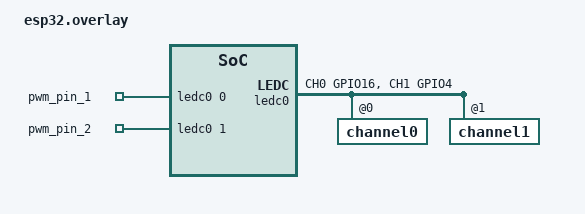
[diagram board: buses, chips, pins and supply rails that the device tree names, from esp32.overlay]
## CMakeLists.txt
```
# SPDX-License-Identifier: Apache-2.0

set(BOARD esp32_devkitc_wroom/esp32/procpu)

# Add the overlay file
set(DTC_OVERLAY_FILE esp32.overlay)

cmake_minimum_required(VERSION 3.20.0)

find_package(zephyr REQUIRED HINTS $ENV{ZEPHYR_BASE})

project(esp32_motor)

target_sources(app PRIVATE src/main.cpp)

target_sources(app PRIVATE src/hbridge.cpp)
```

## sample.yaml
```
sample:
  description: example with a motor, configured for an ESP32
  name: esp32 motor
```

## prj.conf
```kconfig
CONFIG_PWM=y
CONFIG_CPP=y
```

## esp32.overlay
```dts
/ {
	aliases {
		pin1=&pwm_pin_1;
		pin2=&pwm_pin_2;
	};
	pwmleds {
		compatible = "pwm-leds";
		pwm_pin_1: pwm_pin_1 {
			pwms = <&ledc0 0 PWM_HZ(2000) PWM_POLARITY_NORMAL>;
		};
		pwm_pin_2: pwm_pin_2 {
			pwms = <&ledc0 1 PWM_HZ(2000) PWM_POLARITY_NORMAL>;
		};
	};
};

&pinctrl {
        ledc0_pinctrl: ledc0_pinctrl {
	        pwm_group {
		        pinmux = <LEDC_CH0_GPIO16>,
					<LEDC_CH1_GPIO4>;
			output-enable;
		};
	};
};

&ledc0{
	pinctrl-0=<&ledc0_pinctrl>;
	pinctrl-names = "default";
	status="okay";
	#address-cells = <1>;
	#size-cells = <0>;
	channel0@0 {
	        reg = <0x0>;
		timer = <0>;
	};
	channel1@1 {
	        reg = <0x1>;
		timer = <0>;
	};
};
```

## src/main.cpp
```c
#include <stdio.h>
#include <zephyr/kernel.h>

#include "hbridge.h"

const struct pwm_dt_spec pin1 = PWM_DT_SPEC_GET(DT_ALIAS(pin1));
const struct pwm_dt_spec pin2 = PWM_DT_SPEC_GET(DT_ALIAS(pin2));

HBridge hbridge1 = HBridge(pin1, pin2);

int main(void)
{
    if (!hbridge1.begin()) {
        printf("Failed to initialize HBridge\n");
        return 1;
    }

    while (true) {
        hbridge1.enable();
        hbridge1.setSpeed(0.7);
        k_sleep(K_MSEC(1000));
        hbridge1.setSpeed(-0.3);
        k_sleep(K_MSEC(1000));
        hbridge1.disable();
        k_sleep(K_MSEC(1000));
    }

    return 0;
}
```

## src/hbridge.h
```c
#ifndef HBRIDGE_H
#define HBRIDGE_H
#include <zephyr/drivers/pwm.h>

class HBridge {
protected:
    bool enabled;
    const struct pwm_dt_spec* pin1;
    const struct pwm_dt_spec* pin2;

public:
    HBridge(const struct pwm_dt_spec& pin1, const struct pwm_dt_spec& pin2);
    bool begin();
    void setEnable(bool enable);
    void enable();
    void disable();
    void setSpeed(float speed);
};

#endif // HBRIDGE_H
```
